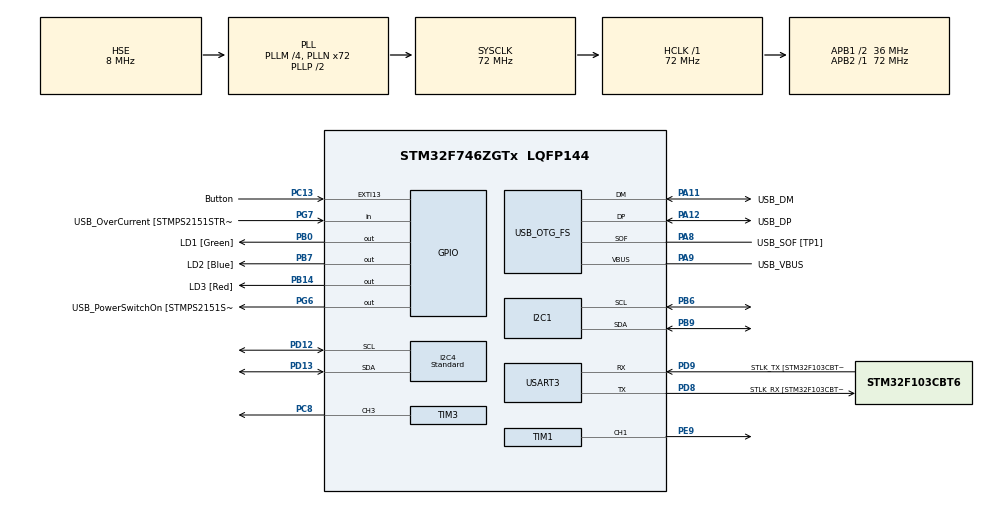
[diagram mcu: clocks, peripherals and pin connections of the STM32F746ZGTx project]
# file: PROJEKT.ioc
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I2C1.Timing=0x00808CD2
I2C4.I2C_Speed_Mode=I2C_Standard
I2C4.Timing=0x00808CD2
Mcu.Family=STM32F7
Mcu.Name=STM32F746ZGTx
Mcu.Package=LQFP144
NVIC.PriorityGroup=NVIC_PRIORITYGROUP_4
NVIC.TIM3_IRQn=true\:0\:0\:false\:false\:true\:true\:true
NVIC.USART3_IRQn=true\:0\:0\:false\:false\:true\:true\:true
PA1.GPIO_Label=RMII_REF_CLK [LAN8742A-CZ-TR_REFCLK0]
PA1.Signal=ETH_REF_CLK
PA10.GPIO_Label=USB_ID
PA10.Signal=USB_OTG_FS_ID
PA11.GPIO_Label=USB_DM
PA11.Mode=Device_Only
PA11.Signal=USB_OTG_FS_DM
PA12.GPIO_Label=USB_DP
PA12.Mode=Device_Only
PA12.Signal=USB_OTG_FS_DP
PA13.GPIO_Label=TMS
PA13.Mode=Serial_Wire
PA13.Signal=SYS_JTMS-SWDIO
PA14.GPIO_Label=TCK
PA14.Mode=Serial_Wire
PA14.Signal=SYS_JTCK-SWCLK
PA2.GPIO_Label=RMII_MDIO [LAN8742A-CZ-TR_MDIO]
PA2.Signal=ETH_MDIO
PA7.GPIO_Label=RMII_CRS_DV [LAN8742A-CZ-TR_CRS_DV]
PA7.Signal=ETH_CRS_DV
PA8.GPIO_Label=USB_SOF [TP1]
PA8.Mode=Activate_SOF_FS
PA8.Signal=USB_OTG_FS_SOF
PA9.GPIO_Label=USB_VBUS
PA9.Mode=Activate_VBUS
PA9.Signal=USB_OTG_FS_VBUS
PB0.GPIO_Label=LD1 [Green]
PB0.Signal=GPIO_Output
PB13.GPIO_Label=RMII_TXD1 [LAN8742A-CZ-TR_TXD1]
PB13.Signal=ETH_TXD1
PB14.GPIO_Label=LD3 [Red]
PB14.Signal=GPIO_Output
PB3.GPIO_Label=SW0
PB3.Signal=SYS_JTDO-SWO
PB6.Mode=I2C
PB6.Signal=I2C1_SCL
PB7.GPIO_Label=LD2 [Blue]
PB7.Signal=GPIO_Output
PB9.Mode=I2C
PB9.Signal=I2C1_SDA
PC1.GPIO_Label=RMII_MDC [LAN8742A-CZ-TR_MDC]
PC1.Signal=ETH_MDC
PC13.GPIO_Label=Button
PC13.GPIO_ModeDefaultEXTI=GPIO_MODE_EVT_RISING
PC13.Signal=GPXTI13
PC14/OSC32_IN.Mode=LSE-External-Oscillator
PC14/OSC32_IN.Signal=RCC_OSC32_IN
PC15/OSC32_OUT.Mode=LSE-External-Oscillator
PC15/OSC32_OUT.Signal=RCC_OSC32_OUT
PC4.GPIO_Label=RMII_RXD0 [LAN8742A-CZ-TR_RXD0]
PC4.Signal=ETH_RXD0
PC5.GPIO_Label=RMII_RXD1 [LAN8742A-CZ-TR_RXD1]
PC5.Signal=ETH_RXD1
PC8.Signal=S_TIM3_CH3
PD12.GPIO_Pu=GPIO_NOPULL
PD12.GPIO_Speed=GPIO_SPEED_FREQ_VERY_HIGH
PD12.Mode=I2C
PD12.Signal=I2C4_SCL
PD13.GPIO_Pu=GPIO_NOPULL
PD13.GPIO_Speed=GPIO_SPEED_FREQ_VERY_HIGH
PD13.Mode=I2C
PD13.Signal=I2C4_SDA
PD8.GPIO_Label=STLK_RX [STM32F103CBT6_PA3]
PD8.Mode=Asynchronous
PD8.Signal=USART3_TX
PD9.GPIO_Label=STLK_TX [STM32F103CBT6_PA2]
PD9.Mode=Asynchronous
PD9.Signal=USART3_RX
PE9.Signal=S_TIM1_CH1
PG11.GPIO_Label=RMII_TX_EN [LAN8742A-CZ-TR_TXEN]
PG11.Signal=ETH_TX_EN
PG13.GPIO_Label=RMII_TXD0 [LAN8742A-CZ-TR_TXD0]
PG13.Signal=ETH_TXD0
PG6.GPIO_Label=USB_PowerSwitchOn [STMPS2151STR_EN]
PG6.Signal=GPIO_Output
PG7.GPIO_Label=USB_OverCurrent [STMPS2151STR_FAULT]
PG7.Signal=GPIO_Input
PH0/OSC_IN.GPIO_Label=MCO [STM32F103CBT6_PA8]
PH0/OSC_IN.Mode=HSE-External-Clock-Source
PH0/OSC_IN.Signal=RCC_OSC_IN
PH1/OSC_OUT.Mode=HSE-External-Clock-Source
PH1/OSC_OUT.Signal=RCC_OSC_OUT
ProjectManager.HeapSize=0x200
ProjectManager.StackSize=0x400
ProjectManager.TargetToolchain=STM32CubeIDE
RCC.48MHZClocksFreq_Value=24000000
RCC.AHBFreq_Value=72000000
RCC.APB1CLKDivider=RCC_HCLK_DIV2
RCC.APB1Freq_Value=36000000
RCC.APB1TimFreq_Value=72000000
RCC.APB2Freq_Value=72000000
RCC.APB2TimFreq_Value=72000000
RCC.CortexFreq_Value=72000000
RCC.HCLKFreq_Value=72000000
RCC.HSE_VALUE=8000000
RCC.HSI_VALUE=16000000
RCC.PLLM=4
RCC.PLLMUL=RCC_PLL_MUL9
RCC.PLLN=72
RCC.PLLQ=3
RCC.PRESCALERUSB=RCC_USBCLKSOURCE_PLL_DIV1_5
RCC.SYSCLKFreq_VALUE=72000000
RCC.SYSCLKSource=RCC_SYSCLKSOURCE_PLLCLK
RCC.SYSCLKSourceVirtual=RCC_SYSCLKSOURCE_PLLCLK
RCC.USBFreq_Value=48000000
RCC.VCOOutputFreq_Value=144000000
SH.S_TIM1_CH1.0=TIM1_CH1,PWM Generation1 CH1
SH.S_TIM3_CH3.0=TIM3_CH3,Output Compare3 CH3
TIM1.AutoReloadPreload=TIM_AUTORELOAD_PRELOAD_ENABLE
TIM1.Channel-PWM\ Generation1\ CH1=TIM_CHANNEL_1
TIM1.Period=999
TIM1.Prescaler=71
TIM3.AutoReloadPreload=TIM_AUTORELOAD_PRELOAD_ENABLE
TIM3.Channel-Output\ Compare3\ CH3=TIM_CHANNEL_3
TIM3.Period=9999
TIM3.Prescaler=7199
USART3.VirtualMode-Asynchronous=VM_ASYNC
USB_OTG_FS.VirtualMode=Device_Only
VP_TIM1_VS_ClockSourceINT.Mode=Internal
VP_TIM3_VS_ClockSourceINT.Mode=Internal
board=NUCLEO-F746ZG

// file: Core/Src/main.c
/* USER CODE BEGIN Header */
/**
  ******************************************************************************
  * @file           : main.c
  * @brief          : Main program body
  ******************************************************************************
  * @attention
  *
  * <h2><center>&copy; Copyright (c) 2022 STMicroelectronics.
  * All rights reserved.</center></h2>
  *
  * This software component is licensed by ST under BSD 3-Clause license,
  * the "License"; You may not use this file except in compliance with the
  * License. You may obtain a copy of the License at:
  *                        opensource.org/licenses/BSD-3-Clause
  *
  ******************************************************************************
  */
/* USER CODE END Header */
#include "main.h"
#include "i2c.h"
#include "tim.h"
#include "usart.h"
#include "usb_otg.h"
#include "gpio.h"

/* USER CODE BEGIN Includes */
#include "lcd_i2c.h"
#include <stdbool.h>
#include <stdio.h>
#include "BMPXX80.h"
#include "PID_discrete_simple.h"
/* USER CODE END Includes */

/* USER CODE BEGIN PM */
#define COUNTOF(__BUFFER__) (sizeof(__BUFFER__) / sizeof(*(__BUFFER__)))
/* USER CODE END PM */

/* USER CODE BEGIN PV */
char data[7];
char data1[9];
char data2[9];
float32_t temperature;
uint8_t tzad[1];
float pwm_duty_f = 0;
uint16_t pwm_duty = 0;
struct lcd_disp disp;
float32_t set_point=34.00;

pid_data_t pid1={.p.Kp=0.031, .p.Ki=0.000214, .p.Kd=0, .p.dt=1.0, .previous_error=0, .previous_integral=0};

/* USER CODE END PV */

void SystemClock_Config(void);

int main(void)
{

  /* MCU Configuration--------------------------------------------------------*/

  /* Reset of all peripherals, Initializes the Flash interface and the Systick. */
  HAL_Init();

  /* Configure the system clock */
  SystemClock_Config();

  /* Initialize all configured peripherals */
  MX_GPIO_Init();
  MX_USB_OTG_FS_PCD_Init();
  MX_I2C1_Init();
  MX_I2C4_Init();
  MX_TIM3_Init();
  MX_USART3_UART_Init();
  MX_TIM1_Init();
  /* USER CODE BEGIN 2 */
  HAL_StatusTypeDef status =HAL_UART_Receive(&huart3, tzad, 1, 1);
  HAL_TIM_Base_Start_IT(&htim3);
  HAL_TIM_PWM_Start (&htim1, TIM_CHANNEL_1);
  __HAL_TIM_SET_COMPARE(&htim1,TIM_CHANNEL_1,0);
  BMP280_Init(&hi2c1, BMP280_TEMPERATURE_16BIT, BMP280_STANDARD, BMP280_FORCEDMODE);
  HAL_UART_Receive_IT(&huart3, &tzad, 2);

  disp.addr = (0x4E);
  disp.bl = true;
  lcd_init(&disp);

  /* USER CODE END 2 */

  /* Infinite loop */
  /* USER CODE BEGIN WHILE */
  while (1)
  {
	  sprintf(data," %.2f",temperature);
	  sprintf(data1,"Ta: %.2f",temperature);
	  sprintf(data2,"Tz: %.2f",set_point);
	  HAL_UART_Transmit(&huart3, (uint8_t *)data, (COUNTOF(data)-1), 50);
	  HAL_Delay(1000);

	  if (HAL_GPIO_ReadPin(Button_GPIO_Port, Button_Pin) == 1) {
		  sprintf((char *)disp.f_line, data2);
	  } else {
		  sprintf((char *)disp.f_line, data1);
	  }

	  lcd_display(&disp);

    /* USER CODE END WHILE */

  }
}

void SystemClock_Config(void)
{
  RCC_OscInitTypeDef RCC_OscInitStruct = {0};
  RCC_ClkInitTypeDef RCC_ClkInitStruct = {0};
  RCC_PeriphCLKInitTypeDef PeriphClkInitStruct = {0};

  /** Configure LSE Drive Capability
  */
  HAL_PWR_EnableBkUpAccess();
  /** Configure the main internal regulator output voltage
  */
  __HAL_RCC_PWR_CLK_ENABLE();
  __HAL_PWR_VOLTAGESCALING_CONFIG(PWR_REGULATOR_VOLTAGE_SCALE3);
  /** Initializes the RCC Oscillators according to the specified parameters
  * in the RCC_OscInitTypeDef structure.
  */
  RCC_OscInitStruct.OscillatorType = RCC_OSCILLATORTYPE_HSE;
  RCC_OscInitStruct.HSEState = RCC_HSE_BYPASS;
  RCC_OscInitStruct.PLL.PLLState = RCC_PLL_ON;
  RCC_OscInitStruct.PLL.PLLSource = RCC_PLLSOURCE_HSE;
  RCC_OscInitStruct.PLL.PLLM = 4;
  RCC_OscInitStruct.PLL.PLLN = 72;
  RCC_OscInitStruct.PLL.PLLP = RCC_PLLP_DIV2;
  RCC_OscInitStruct.PLL.PLLQ = 3;
  if (HAL_RCC_OscConfig(&RCC_OscInitStruct) != HAL_OK)
  {
    Error_Handler();
  }
  /** Initializes the CPU, AHB and APB buses clocks
  */
  RCC_ClkInitStruct.ClockType = RCC_CLOCKTYPE_HCLK|RCC_CLOCKTYPE_SYSCLK
                              |RCC_CLOCKTYPE_PCLK1|RCC_CLOCKTYPE_PCLK2;
  RCC_ClkInitStruct.SYSCLKSource = RCC_SYSCLKSOURCE_PLLCLK;
  RCC_ClkInitStruct.AHBCLKDivider = RCC_SYSCLK_DIV1;
  RCC_ClkInitStruct.APB1CLKDivider = RCC_HCLK_DIV2;
  RCC_ClkInitStruct.APB2CLKDivider = RCC_HCLK_DIV1;

  if (HAL_RCC_ClockConfig(&RCC_ClkInitStruct, FLASH_LATENCY_2) != HAL_OK)
  {
    Error_Handler();
  }
  PeriphClkInitStruct.PeriphClockSelection = RCC_PERIPHCLK_USART3|RCC_PERIPHCLK_I2C1
                              |RCC_PERIPHCLK_I2C4|RCC_PERIPHCLK_CLK48;
  PeriphClkInitStruct.Usart3ClockSelection = RCC_USART3CLKSOURCE_PCLK1;
  PeriphClkInitStruct.I2c1ClockSelection = RCC_I2C1CLKSOURCE_PCLK1;
  PeriphClkInitStruct.I2c4ClockSelection = RCC_I2C4CLKSOURCE_PCLK1;
  PeriphClkInitStruct.Clk48ClockSelection = RCC_CLK48SOURCE_PLL;
  if (HAL_RCCEx_PeriphCLKConfig(&PeriphClkInitStruct) != HAL_OK)
  {
    Error_Handler();
  }
}

/* USER CODE BEGIN 4 */
void HAL_TIM_PeriodElapsedCallback(TIM_HandleTypeDef *htim){
	if(htim->Instance == TIM3){
		  temperature = BMP280_ReadTemperature();

		  pwm_duty_f = (999.0*calculate_discrete_pid(&pid1, set_point, temperature));
		  pwm_duty = 0;
		  if(pwm_duty_f<0) pwm_duty=0; else
		  if(pwm_duty_f>999.0) pwm_duty = 999; else
			  pwm_duty = (uint16_t)pwm_duty_f;
		  __HAL_TIM_SET_COMPARE(&htim1, TIM_CHANNEL_1, pwm_duty);
	}
}

void HAL_UART_RxCpltCallback(UART_HandleTypeDef *huart) {
	if(huart->Instance == USART3){
			switch(tzad[0])
			{
			case'x':set_point-=0.5;break;
			case'z':set_point+=0.5;break;
			}
		HAL_UART_Receive_IT(&huart3, tzad, 1);
	}
}

/* USER CODE END 4 */

void Error_Handler(void)
{
  __disable_irq();
  while (1)
  {
  }
}

/************************ (C) COPYRIGHT STMicroelectronics *****END OF FILE****/
